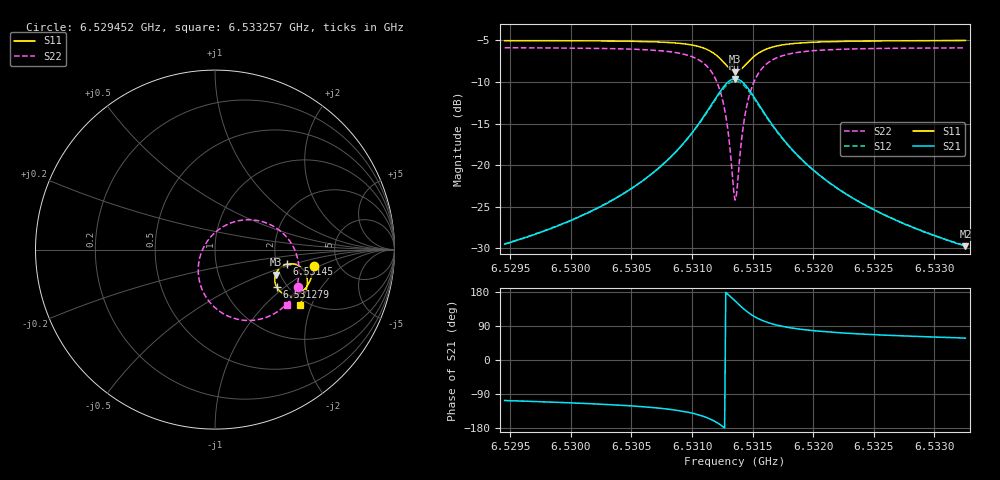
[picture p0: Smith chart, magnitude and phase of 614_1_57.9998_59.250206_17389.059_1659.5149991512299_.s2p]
#  HZ  S  RI  R  50.00
! Rohde & Schwarz Vector Network Analyzer
! Rohde-Schwarz,ZNB20-2Port,1311601062101988,3.16
! Created: UTC 3/21/2024, 1:17:51 AM
! freq[Hz]  re:S11  im:S11  re:S21  im:S21  re:S12  im:S12  re:S22  im:S22
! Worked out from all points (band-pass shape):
!   401 points, 6.529452 GHz to 6.533257 GHz, reference 50 ohm
!   highest |S21| = -9.60 dB at 6.531355 GHz (marker M1); lowest = -29.7 dB at 6.533257 GHz (marker M2)
!   |S21| within 3 dB of the highest: 6.531166 GHz to 6.531546 GHz (380.8 kHz wide, 0.00583 % of centre)
!   lowest |S11| = -8.8 dB at 6.531355 GHz (marker M3), VSWR 2.15, Z = 94.5 - j30.4 ohm
!   |S11| at or under -10 dB: nowhere
!   |S22| runs from -24.2 to -5.9 dB; largest |S21 - S12| = 0.014
!   S11 on the Smith chart (normalised r, x): 6.529452 GHz: 3.30, -0.87; 6.531279 GHz: 1.77, -0.88; 6.53145 GHz: 2.27, -0.44; 6.533257 GHz: 1.83, -1.64
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6.5294525e9  0.5531 -0.0906  -0.00977 -0.0321  -0.0105 -0.0318  0.4636 -0.2078
6.5300897e9  0.5403 -0.1445  -0.0205 -0.0454  -0.0216 -0.045  0.4283 -0.2672
6.5304511e9  0.5271 -0.1789  -0.0345 -0.0594  -0.0361 -0.0585  0.3916 -0.3103
6.5307269e9  0.5088 -0.2096  -0.0581 -0.077  -0.0603 -0.0752  0.3386 -0.3521
6.5309457e9  0.4792 -0.2384  -0.1016 -0.0961  -0.1045 -0.0923  0.2512 -0.3879
6.5311169e9  0.428 -0.2559  -0.1811 -0.0989  -0.1831 -0.091  0.1064 -0.3831
6.531212e9  0.379 -0.2446  -0.2567 -0.0621  -0.2542 -0.0512  -0.0169 -0.3069
6.53125e9  0.3574 -0.2279  -0.288 -0.0271  -0.2822 -0.016  -0.0627 -0.2422
6.5312785e9  0.3438 -0.209  -0.3064 0.00934  -0.2981 0.0196  -0.0862 -0.1782
6.5313071e9  0.3349 -0.1849  -0.3161 0.0538  -0.3052 0.0619  -0.0933 -0.1033
6.5313356e9  0.3336 -0.1577  -0.3129 0.1025  -0.3005 0.1074  -0.0788 -0.0245
6.5313546e9  0.3374 -0.1392  -0.3026 0.1344  -0.2899 0.1373  -0.0563 0.0255
6.5313736e9  0.3452 -0.122  -0.2863 0.164  -0.274 0.1646  -0.0242 0.0705
6.5314117e9  0.3695 -0.0954  -0.2397 0.2088  -0.2296 0.2063  0.0594 0.1357
6.5314497e9  0.3993 -0.0812  -0.1862 0.232  -0.1789 0.2277  0.1517 0.1642
6.5315163e9  0.4462 -0.0819  -0.1047 0.231  -0.1011 0.2272  0.2874 0.1479
6.5316114e9  0.4865 -0.1063  -0.0359 0.1947  -0.0344 0.1927  0.3976 0.0713
6.5317541e9  0.5095 -0.1446  0.00425 0.1428  0.00551 0.142  0.4559 -0.0323
6.5319918e9  0.5145 -0.1892  0.0203 0.0926  0.0214 0.0922  0.4679 -0.1355
6.5322677e9  0.5083 -0.2242  0.0221 0.0636  0.023 0.0634  0.456 -0.201
6.5326291e9  0.4959 -0.2587  0.0205 0.0442  0.0213 0.0437  0.4358 -0.2532
6.5332568e9  0.471 -0.3068  0.0175 0.0276  0.0181 0.0274  0.4007 -0.3112
